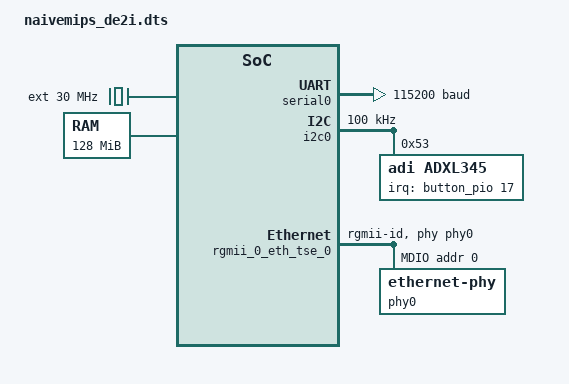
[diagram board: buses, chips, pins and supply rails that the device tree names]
/dts-v1/;

#include <dt-bindings/interrupt-controller/irq.h>

/ {
	compatible = "Tsinghua,NaiveMIPS,DE2i";
	#address-cells = <1>;
	#size-cells = <1>;

	cpus {
		#address-cells = <1>;
		#size-cells = <0>;
		cpu@0 {
			device_type = "cpu";
			compatible = "mips,4Kc";
			clocks	= <&ext>;
			reg = <0>;
		};
	};

	ext: ext {
		compatible = "fixed-clock";
		#clock-cells = <0>;
	};

	memory {
		device_type = "memory";
		reg = <0x0 0x8000000>;
	};

	cpuintc: interrupt-controller@0 {
		#address-cells = <0>;
		#interrupt-cells = <1>;
		interrupt-controller;
		compatible = "mti,cpu-interrupt-controller";
	};
	
	soc{
		compatible = "simple-bus";
		#address-cells = <1>;
		#size-cells = <1>;
		#interrupt-cells = <1>;
		ranges;
		
		serial0: serial@0xbfd003E0 {
			device_type = "serial";
			compatible = "altr,uart-1.0";
			reg = <0xbfd003E0 0x20>;
			current-speed = <115200>;
			clock-frequency = <30000000>;
			interrupt-parent = <&cpuintc>;
			interrupts = <4>;
		};

		led_pio: gpio@0xbfd00400 {
			compatible = "altr,pio-1.0";
			reg = <0xbfd00400 0x10>;
			altr,ngpio = <32>;
			resetvalue = <0xaa>;
			#gpio-cells = <2>;
			gpio-controller;
		};

		button_pio: gpio@0xbfd00410 {
			compatible = "altr,pio-1.0";
			reg = <0xbfd00410 0x10>;
			altr,ngpio = <32>;
			resetvalue = <0>;
			#gpio-cells = <2>;
			gpio-controller;
			interrupt-parent = <&cpuintc>;
			interrupts = <6>;
			altr,interrupt-type = <IRQ_TYPE_LEVEL_HIGH>;
			#interrupt-cells = <2>;
			interrupt-controller;
		};


		i2c0: ocores@0xbc010000 {
			#address-cells = <1>;
			#size-cells = <0>;
			compatible = "opencores,i2c-ocores";
			reg = <0xbc010000 0x20>;
			interrupt-parent = <&cpuintc>;
			interrupts = <5>;
			clocks = <&ext>;
			clock-frequency = <100000>; /* i2c bus frequency 100 KHz */

			reg-shift = <2>;	/* 32 bit registers */
			reg-io-width = <1>;	/* 8 bit read/write */

			adxl345@53 {
				compatible = "adi,adxl345";
				reg = <0x53>;
				interrupt-parent = <&button_pio>;
				interrupts = <17 IRQ_TYPE_LEVEL_HIGH>;
			};
		};

		rgmii_0_eth_tse_0: ethernet@0xbc000000 {
			compatible = "altr,tse-msgdma-1.0";
			reg = <0xbc000000 0x00000400>,
				<0xbc001800 0x00000020>,
				<0xbc001900 0x00000020>,
				<0xbc001a00 0x00000008>,
				<0xbc001b00 0x00000020>,
				<0xbc001c00 0x00000020>;
			reg-names = "control_port", "rx_csr", "rx_desc", "rx_resp", "tx_csr", "tx_desc";
			interrupt-parent = <&cpuintc>;
			interrupts = <2>, <3>;
			interrupt-names = "rx_irq", "tx_irq";
			rx-fifo-depth = <8192>;
			tx-fifo-depth = <8192>;
			address-bits = <48>;
			max-frame-size = <1518>;
			local-mac-address = [00 00 00 00 00 00];
			altr,enable-sup-addr = <1>;
			altr,enable-hash = <1>;
			phy-mode = "rgmii-id";
			phy-handle = <&phy0>;
			rgmii_0_eth_tse_0_mdio: mdio {
				compatible = "altr,tse-mdio";
				#address-cells = <1>;
				#size-cells = <0>;
				phy0: ethernet-phy@0 {
					reg = <0>;
					device_type = "ethernet-phy";
				};
			};
		};
	};

	
};

&ext {
	clock-frequency = <30000000>;
};
